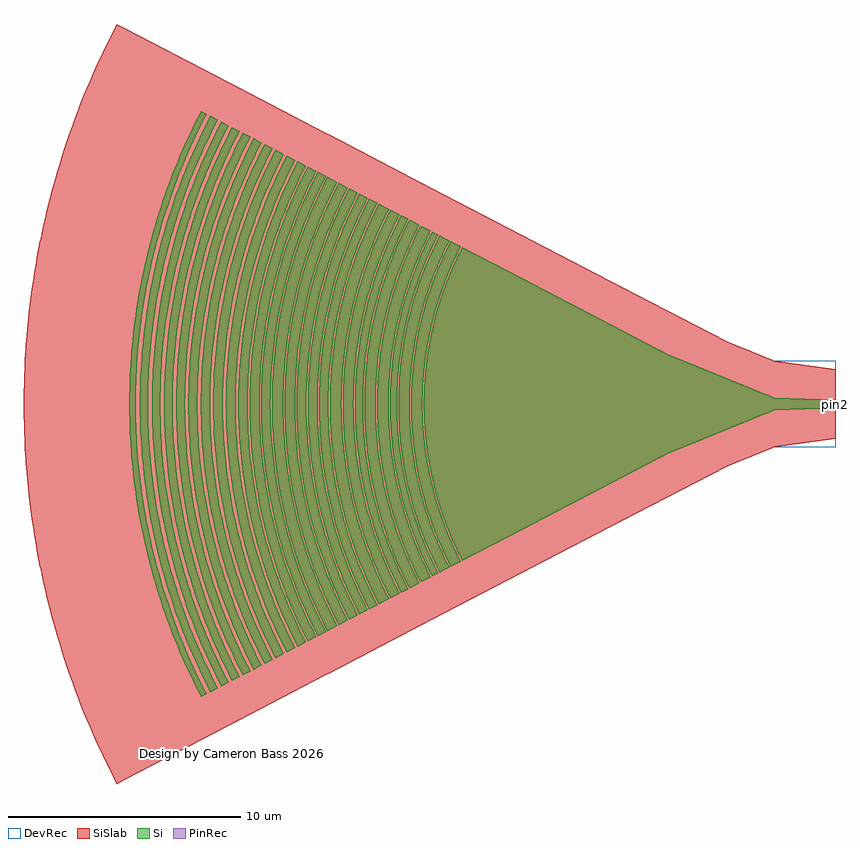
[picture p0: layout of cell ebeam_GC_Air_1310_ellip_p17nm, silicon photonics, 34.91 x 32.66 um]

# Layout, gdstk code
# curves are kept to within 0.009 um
import gdstk
lib = gdstk.Library(unit=1e-6, precision=1e-09)
def P(c, l, *ps):  # polygons
    for p in ps: c.add(gdstk.Polygon(p, *l))
Si = (1, 0)
PinRec = (1, 10)
SiSlab = (2, 0)
DevRec = (68, 0)

ebeam_gc_air_1310_ellip_ = lib.new_cell('ebeam_GC_Air_1310_ellip_p17nm')
P(ebeam_gc_air_1310_ellip_, Si, [(-16.055,-6.739),(-16.483,-5.847),(-16.8,-5.059),(-17.029,-4.389),(-17.294,-3.435),(-17.471,-2.604),(-17.598,-1.765),(-17.676,-0.919),(-17.704,-0.071),(-17.676,0.919),(-17.598,1.765),(-17.471,2.605),(-17.295,3.435),(-17.029,4.389),(-16.8,5.059),(-16.426,5.976),(-16.055,6.739),(-7.071,2.067),(-3.179,0.48),(-2.87,0.366),(-2.673,0.273),(0,0.175),(0,-0.175),(-2.672,-0.273),(-2.839,-0.353),(-3.194,-0.486),(-7.131,-2.092)],
  [(-16.547,-6.994),(-16.929,-6.206),(-17.266,-5.391),(-17.555,-4.558),(-17.831,-3.567),(-18.014,-2.704),(-18.145,-1.833),(-18.226,-0.955),(-18.256,-0.073),(-18.235,0.808),(-18.145,1.833),(-18.014,2.705),(-17.831,3.567),(-17.555,4.558),(-17.266,5.391),(-16.929,6.206),(-16.548,6.995),(-16.114,6.769),(-16.486,6.003),(-16.812,5.215),(-17.092,4.41),(-17.325,3.589),(-17.535,2.617),(-17.663,1.773),(-17.75,0.782),(-17.77,-0.071),(-17.732,-1.066),(-17.645,-1.914),(-17.482,-2.896),(-17.29,-3.727),(-17.049,-4.545),(-16.812,-5.215),(-16.486,-6.003),(-16.114,-6.769)],
  [(-17.028,-7.245),(-17.423,-6.43),(-17.772,-5.586),(-18.071,-4.723),(-18.357,-3.696),(-18.546,-2.802),(-18.682,-1.899),(-18.766,-0.989),(-18.797,-0.076),(-18.775,0.837),(-18.7,1.748),(-18.621,2.352),(-18.546,2.802),(-18.357,3.696),(-18.071,4.723),(-17.772,5.586),(-17.423,6.43),(-17.028,7.245),(-16.605,7.025),(-16.989,6.233),(-17.379,5.277),(-17.662,4.437),(-17.896,3.583),(-18.078,2.717),(-18.211,1.841),(-18.292,0.959),(-18.322,0.074),(-18.301,-0.811),(-18.211,-1.841),(-18.078,-2.717),(-17.896,-3.583),(-17.662,-4.437),(-17.379,-5.277),(-17.048,-6.098),(-16.866,-6.502),(-16.605,-7.025)],
  [(-17.348,-7.412),(-17.815,-6.436),(-18.164,-5.569),(-18.461,-4.683),(-18.708,-3.781),(-18.901,-2.867),(-19.041,-1.943),(-19.127,-1.012),(-19.158,-0.078),(-19.136,0.857),(-19.041,1.943),(-18.901,2.867),(-18.708,3.782),(-18.461,4.683),(-18.164,5.569),(-17.996,6.005),(-17.752,6.579),(-17.348,7.412),(-17.087,7.275),(-17.483,6.457),(-17.778,5.753),(-17.939,5.323),(-18.088,4.889),(-18.307,4.156),(-18.553,3.115),(-18.686,2.361),(-18.782,1.603),(-18.841,0.841),(-18.863,0.077),(-18.848,-0.688),(-18.797,-1.45),(-18.708,-2.211),(-18.553,-3.115),(-18.307,-4.156),(-18.18,-4.597),(-17.99,-5.178),(-17.778,-5.752),(-17.544,-6.317),(-17.355,-6.735),(-17.087,-7.275)],
  [(-17.844,-7.67),(-18.261,-6.808),(-18.452,-6.365),(-18.687,-5.764),(-18.995,-4.847),(-19.25,-3.914),(-19.45,-2.967),(-19.594,-2.011),(-19.683,-1.047),(-19.716,-0.08),(-19.692,0.887),(-19.613,1.851),(-19.478,2.809),(-19.357,3.442),(-19.25,3.914),(-18.995,4.847),(-18.687,5.764),(-18.513,6.215),(-18.261,6.809),(-17.844,7.67),(-17.407,7.442),(-17.812,6.606),(-18.17,5.739),(-18.479,4.852),(-18.735,3.95),(-18.966,2.879),(-19.106,1.951),(-19.17,1.328),(-19.202,0.86),(-19.224,0.078),(-19.202,-0.86),(-19.17,-1.328),(-19.106,-1.951),(-18.966,-2.879),(-18.735,-3.949),(-18.479,-4.852),(-18.17,-5.739),(-17.811,-6.606),(-17.407,-7.442)],
  [(-18.324,-7.92),(-18.755,-7.03),(-19.136,-6.107),(-19.307,-5.639),(-19.513,-5.005),(-19.776,-4.041),(-19.982,-3.064),(-20.132,-2.076),(-20.223,-1.082),(-20.257,-0.083),(-20.233,0.916),(-20.151,1.911),(-20.039,2.736),(-19.952,3.228),(-19.815,3.88),(-19.513,5.005),(-19.194,5.952),(-19.015,6.417),(-18.755,7.031),(-18.324,7.92),(-17.904,7.701),(-18.323,6.836),(-18.575,6.241),(-18.75,5.787),(-19.06,4.867),(-19.316,3.93),(-19.516,2.979),(-19.661,2.019),(-19.751,1.052),(-19.784,0.081),(-19.76,-0.89),(-19.68,-1.858),(-19.596,-2.5),(-19.516,-2.979),(-19.315,-3.929),(-19.06,-4.866),(-18.75,-5.787),(-18.323,-6.836),(-17.904,-7.701)],
  [(-18.686,-8.108),(-18.984,-7.506),(-19.196,-7.041),(-19.518,-6.252),(-19.853,-5.286),(-20.045,-4.632),(-20.173,-4.137),(-20.384,-3.137),(-20.537,-2.125),(-20.631,-1.107),(-20.665,-0.085),(-20.641,0.937),(-20.557,1.957),(-20.414,2.969),(-20.286,3.638),(-20.173,4.137),(-20.045,4.632),(-19.853,5.286),(-19.518,6.252),(-19.127,7.197),(-18.686,8.108),(-18.383,7.951),(-18.676,7.362),(-18.949,6.751),(-19.138,6.288),(-19.37,5.66),(-19.528,5.184),(-19.716,4.542),(-19.879,3.894),(-19.985,3.405),(-20.13,2.581),(-20.235,1.752),(-20.3,0.919),(-20.324,0.084),(-20.3,-0.919),(-20.235,-1.752),(-20.13,-2.581),(-19.985,-3.405),(-19.879,-3.894),(-19.716,-4.542),(-19.528,-5.184),(-19.37,-5.66),(-19.138,-6.287),(-18.949,-6.751),(-18.676,-7.362),(-18.383,-7.95)],
  [(-19.144,-8.347),(-19.451,-7.728),(-19.669,-7.249),(-20.062,-6.273),(-20.397,-5.275),(-20.675,-4.259),(-20.892,-3.229),(-21.05,-2.188),(-21.146,-1.14),(-21.182,-0.088),(-21.172,0.615),(-21.146,1.14),(-21.05,2.188),(-20.892,3.229),(-20.675,4.259),(-20.397,5.275),(-20.062,6.273),(-19.669,7.25),(-19.375,7.887),(-19.144,8.347),(-18.746,8.139),(-19.189,7.225),(-19.456,6.595),(-19.64,6.116),(-19.968,5.143),(-20.239,4.153),(-20.45,3.149),(-20.604,2.134),(-20.698,1.112),(-20.733,0.086),(-20.708,-0.941),(-20.624,-1.964),(-20.48,-2.98),(-20.386,-3.485),(-20.239,-4.153),(-19.968,-5.143),(-19.64,-6.116),(-19.456,-6.595),(-19.189,-7.224),(-18.746,-8.139)],
  [(-19.643,-8.607),(-20.109,-7.643),(-20.524,-6.64),(-20.709,-6.13),(-20.933,-5.441),(-21.219,-4.393),(-21.443,-3.331),(-21.605,-2.257),(-21.705,-1.176),(-21.742,-0.09),(-21.716,0.995),(-21.626,2.078),(-21.475,3.153),(-21.339,3.863),(-21.219,4.394),(-20.933,5.441),(-20.709,6.13),(-20.524,6.64),(-20.109,7.643),(-19.643,8.607),(-19.204,8.378),(-19.659,7.437),(-20.063,6.461),(-20.3,5.798),(-20.462,5.295),(-20.698,4.446),(-20.925,3.415),(-21.094,2.372),(-21.172,1.671),(-21.213,1.144),(-21.249,0.088),(-21.244,-0.44),(-21.213,-1.144),(-21.116,-2.196),(-20.958,-3.241),(-20.856,-3.759),(-20.698,-4.446),(-20.409,-5.463),(-20.063,-6.461),(-19.867,-6.952),(-19.586,-7.598),(-19.204,-8.378)],
  [(-20.058,-8.823),(-20.537,-7.833),(-20.962,-6.805),(-21.327,-5.753),(-21.486,-5.221),(-21.675,-4.503),(-21.905,-3.414),(-22.071,-2.313),(-22.173,-1.205),(-22.211,-0.093),(-22.184,1.02),(-22.093,2.129),(-22.023,2.681),(-21.905,3.414),(-21.675,4.503),(-21.486,5.221),(-21.327,5.753),(-20.962,6.805),(-20.537,7.833),(-20.058,8.823),(-19.706,8.639),(-20.174,7.671),(-20.59,6.664),(-20.948,5.635),(-21.245,4.586),(-21.48,3.522),(-21.574,2.985),(-21.676,2.266),(-21.776,1.18),(-21.813,0.091),(-21.787,-0.999),(-21.75,-1.543),(-21.676,-2.265),(-21.574,-2.985),(-21.48,-3.522),(-21.245,-4.586),(-20.948,-5.634),(-20.59,-6.664),(-20.173,-7.671),(-19.706,-8.639)],
  [(-20.478,-9.042),(-20.969,-8.026),(-21.196,-7.502),(-21.406,-6.972),(-21.779,-5.895),(-21.943,-5.349),(-22.136,-4.613),(-22.372,-3.498),(-22.542,-2.37),(-22.647,-1.235),(-22.686,-0.095),(-22.658,1.045),(-22.564,2.182),(-22.405,3.311),(-22.301,3.871),(-22.136,4.614),(-21.943,5.349),(-21.779,5.895),(-21.406,6.972),(-20.97,8.026),(-20.478,9.042),(-20.118,8.854),(-20.599,7.86),(-21.025,6.829),(-21.391,5.774),(-21.601,5.059),(-21.741,4.518),(-21.971,3.426),(-22.138,2.322),(-22.24,1.209),(-22.278,0.093),(-22.251,-1.023),(-22.197,-1.766),(-22.138,-2.321),(-21.971,-3.426),(-21.741,-4.518),(-21.601,-5.06),(-21.391,-5.774),(-21.025,-6.828),(-20.819,-7.347),(-20.522,-8.03),(-20.118,-8.854)],
  [(-20.913,-9.268),(-21.17,-8.754),(-21.497,-8.046),(-21.933,-6.962),(-22.305,-5.855),(-22.613,-4.728),(-22.855,-3.584),(-23.03,-2.429),(-23.137,-1.265),(-23.176,-0.097),(-23.171,0.487),(-23.137,1.265),(-23.03,2.429),(-22.855,3.585),(-22.613,4.728),(-22.305,5.855),(-21.933,6.963),(-21.497,8.047),(-21.17,8.754),(-20.913,9.268),(-20.542,9.074),(-21.036,8.053),(-21.473,6.996),(-21.849,5.915),(-22.161,4.815),(-22.292,4.257),(-22.443,3.51),(-22.614,2.379),(-22.719,1.239),(-22.758,0.096),(-22.747,-0.667),(-22.719,-1.239),(-22.614,-2.378),(-22.443,-3.51),(-22.207,-4.629),(-22.013,-5.367),(-21.849,-5.915),(-21.473,-6.996),(-21.036,-8.053),(-20.542,-9.074)],
  [(-21.364,-9.503),(-21.714,-8.797),(-21.962,-8.251),(-22.339,-7.327),(-22.544,-6.764),(-22.732,-6.195),(-22.957,-5.428),(-23.107,-4.848),(-23.355,-3.676),(-23.534,-2.491),(-23.644,-1.297),(-23.673,-0.699),(-23.684,-0.1),(-23.679,0.499),(-23.644,1.298),(-23.534,2.491),(-23.355,3.676),(-23.107,4.848),(-22.957,5.428),(-22.732,6.195),(-22.544,6.764),(-22.339,7.327),(-21.881,8.434),(-21.364,9.503),(-20.972,9.298),(-21.479,8.252),(-21.927,7.169),(-22.312,6.061),(-22.631,4.933),(-22.766,4.362),(-22.92,3.596),(-23.096,2.437),(-23.203,1.27),(-23.243,0.098),(-23.215,-1.074),(-23.175,-1.66),(-23.096,-2.437),(-22.92,-3.596),(-22.677,-4.743),(-22.532,-5.312),(-22.312,-6.061),(-21.927,-7.168),(-21.479,-8.252),(-20.972,-9.298)],
  [(-21.852,-9.756),(-22.121,-9.219),(-22.464,-8.474),(-22.702,-7.906),(-22.923,-7.332),(-23.128,-6.752),(-23.315,-6.166),(-23.64,-4.979),(-23.776,-4.379),(-23.894,-3.775),(-23.995,-3.168),(-24.078,-2.558),(-24.191,-1.332),(-24.221,-0.718),(-24.232,-0.102),(-24.203,1.128),(-24.102,2.355),(-23.995,3.168),(-23.894,3.775),(-23.776,4.379),(-23.64,4.979),(-23.315,6.166),(-23.128,6.752),(-22.923,7.333),(-22.625,8.097),(-22.381,8.662),(-21.852,9.757),(-21.423,9.533),(-21.688,9.007),(-21.942,8.461),(-22.401,7.351),(-22.796,6.215),(-23.124,5.059),(-23.383,3.885),(-23.575,2.698),(-23.697,1.502),(-23.732,0.901),(-23.751,0.1),(-23.722,-1.102),(-23.664,-1.901),(-23.6,-2.499),(-23.42,-3.688),(-23.262,-4.473),(-23.124,-5.059),(-22.796,-6.215),(-22.401,-7.351),(-22.102,-8.094),(-21.859,-8.644),(-21.423,-9.533)],
  [(-22.266,-9.972),(-22.807,-8.852),(-23.056,-8.274),(-23.288,-7.69),(-23.502,-7.1),(-23.762,-6.302),(-24.094,-5.089),(-24.353,-3.858),(-24.456,-3.238),(-24.541,-2.614),(-24.608,-1.989),(-24.657,-1.362),(-24.687,-0.734),(-24.699,-0.105),(-24.669,1.153),(-24.566,2.406),(-24.487,3.03),(-24.39,3.652),(-24.275,4.27),(-24.094,5.089),(-23.762,6.302),(-23.57,6.901),(-23.288,7.69),(-23.056,8.275),(-22.807,8.853),(-22.266,9.972),(-21.911,9.787),(-22.442,8.689),(-22.763,7.932),(-23.056,7.162),(-23.256,6.579),(-23.495,5.791),(-23.655,5.195),(-23.84,4.392),(-23.959,3.787),(-24.06,3.177),(-24.189,2.157),(-24.269,1.131),(-24.299,0.103),(-24.279,-0.925),(-24.209,-1.953),(-24.09,-2.975),(-23.881,-4.191),(-23.751,-4.794),(-23.55,-5.593),(-23.318,-6.382),(-23.056,-7.162),(-22.763,-7.932),(-22.442,-8.689),(-21.911,-9.787)],
  [(-22.7,-10.198),(-22.983,-9.634),(-23.342,-8.855),(-23.747,-7.863),(-23.966,-7.259),(-24.168,-6.648),(-24.352,-6.033),(-24.571,-5.203),(-24.713,-4.576),(-24.836,-3.945),(-24.942,-3.311),(-25.029,-2.673),(-25.097,-2.034),(-25.147,-1.392),(-25.178,-0.751),(-25.19,-0.107),(-25.184,0.536),(-25.159,1.179),(-25.116,1.82),(-25.054,2.46),(-24.973,3.098),(-24.874,3.734),(-24.713,4.576),(-24.571,5.203),(-24.41,5.825),(-24.231,6.444),(-23.822,7.663),(-23.591,8.262),(-23.342,8.856),(-22.983,9.634),(-22.7,10.198),(-22.328,10.004),(-22.605,9.453),(-22.872,8.881),(-23.2,8.107),(-23.499,7.32),(-23.768,6.523),(-23.948,5.918),(-24.112,5.309),(-24.301,4.489),(-24.493,3.456),(-24.636,2.414),(-24.727,1.366),(-24.758,0.736),(-24.77,0.105),(-24.75,-0.946),(-24.713,-1.576),(-24.658,-2.204),(-24.526,-3.247),(-24.343,-4.284),(-24.21,-4.9),(-24.005,-5.715),(-23.768,-6.523),(-23.569,-7.122),(-23.278,-7.911),(-22.956,-8.688),(-22.696,-9.263),(-22.328,-10.004)],
  [(-23.132,-10.423),(-23.519,-9.644),(-23.791,-9.046),(-24.045,-8.44),(-24.282,-7.827),(-24.5,-7.208),(-24.7,-6.582),(-24.882,-5.952),(-25.047,-5.315),(-25.192,-4.675),(-25.319,-4.03),(-25.426,-3.382),(-25.515,-2.731),(-25.585,-2.078),(-25.636,-1.422),(-25.668,-0.767),(-25.68,-0.109),(-25.674,0.547),(-25.649,1.204),(-25.604,1.859),(-25.541,2.513),(-25.458,3.165),(-25.319,4.03),(-25.192,4.674),(-25.047,5.315),(-24.7,6.582),(-24.5,7.208),(-24.282,7.828),(-24.045,8.44),(-23.791,9.046),(-23.519,9.644),(-23.132,10.423),(-22.776,10.238),(-23.154,9.475),(-23.506,8.69),(-23.75,8.093),(-23.976,7.488),(-24.251,6.673),(-24.436,6.054),(-24.655,5.222),(-24.797,4.592),(-24.994,3.535),(-25.087,2.897),(-25.162,2.255),(-25.245,1.183),(-25.277,0.108),(-25.256,-0.968),(-25.183,-2.042),(-25.027,-3.323),(-24.84,-4.382),(-24.655,-5.222),(-24.494,-5.846),(-24.315,-6.467),(-24.048,-7.285),(-23.75,-8.093),(-23.506,-8.689),(-23.154,-9.475),(-22.776,-10.237)],
  [(-23.601,-10.668),(-24,-9.864),(-24.279,-9.253),(-24.539,-8.633),(-24.781,-8.007),(-25.004,-7.372),(-25.209,-6.733),(-25.396,-6.088),(-25.564,-5.437),(-25.713,-4.782),(-25.842,-4.122),(-25.953,-3.459),(-26.044,-2.793),(-26.115,-2.125),(-26.167,-1.455),(-26.2,-0.784),(-26.213,-0.112),(-26.206,0.56),(-26.18,1.232),(-26.135,1.902),(-26.07,2.571),(-25.985,3.237),(-25.881,3.902),(-25.713,4.781),(-25.564,5.437),(-25.396,6.087),(-25.209,6.733),(-25.004,7.373),(-24.781,8.007),(-24.539,8.633),(-24.279,9.253),(-24,9.865),(-23.601,10.668),(-23.234,10.476),(-23.529,9.89),(-23.896,9.09),(-24.152,8.482),(-24.465,7.659),(-24.679,7.035),(-24.936,6.192),(-25.107,5.555),(-25.305,4.697),(-25.507,3.615),(-25.656,2.525),(-25.719,1.869),(-25.764,1.21),(-25.796,0.11),(-25.775,-0.99),(-25.737,-1.649),(-25.679,-2.306),(-25.541,-3.398),(-25.349,-4.482),(-25.21,-5.127),(-24.995,-5.981),(-24.812,-6.614),(-24.539,-7.451),(-24.313,-8.072),(-23.984,-8.888),(-23.624,-9.691),(-23.234,-10.476)],
  [(-24.084,-10.919),(-24.396,-10.298),(-24.687,-9.675),(-24.96,-9.043),(-25.214,-8.405),(-25.449,-7.76),(-25.733,-6.888),(-25.924,-6.227),(-26.096,-5.562),(-26.248,-4.892),(-26.381,-4.217),(-26.494,-3.539),(-26.587,-2.857),(-26.66,-2.174),(-26.713,-1.488),(-26.747,-0.802),(-26.76,-0.114),(-26.753,0.573),(-26.727,1.26),(-26.68,1.945),(-26.587,2.858),(-26.494,3.539),(-26.381,4.217),(-26.248,4.891),(-26.096,5.562),(-25.924,6.227),(-25.733,6.888),(-25.449,7.759),(-25.214,8.405),(-24.96,9.044),(-24.687,9.675),(-24.396,10.298),(-24.084,10.919),(-23.722,10.73),(-24.027,10.124),(-24.313,9.511),(-24.665,8.683),(-24.986,7.84),(-25.274,6.986),(-25.468,6.338),(-25.698,5.467),(-25.846,4.808),(-26.053,3.701),(-26.206,2.585),(-26.304,1.463),(-26.337,0.788),(-26.35,0.113),(-26.328,-1.013),(-26.288,-1.688),(-26.23,-2.361),(-26.088,-3.478),(-25.892,-4.588),(-25.698,-5.467),(-25.529,-6.121),(-25.274,-6.986),(-24.986,-7.84),(-24.749,-8.473),(-24.403,-9.305),(-24.027,-10.124),(-23.722,-10.73)],
  [(-24.554,-11.164),(-24.875,-10.526),(-25.172,-9.889),(-25.452,-9.244),(-25.711,-8.591),(-25.952,-7.931),(-26.173,-7.264),(-26.374,-6.591),(-26.614,-5.685),(-26.769,-5),(-26.905,-4.31),(-27.02,-3.617),(-27.115,-2.921),(-27.19,-2.222),(-27.245,-1.521),(-27.279,-0.82),(-27.292,-0.117),(-27.279,0.82),(-27.245,1.522),(-27.19,2.223),(-27.115,2.921),(-27.02,3.616),(-26.905,4.31),(-26.769,4.999),(-26.614,5.685),(-26.374,6.591),(-26.173,7.264),(-25.952,7.931),(-25.711,8.591),(-25.452,9.245),(-25.173,9.889),(-24.875,10.526),(-24.554,11.164),(-24.203,10.981),(-24.618,10.148),(-24.904,9.518),(-25.172,8.881),(-25.5,8.019),(-25.795,7.146),(-25.993,6.484),(-26.173,5.816),(-26.38,4.918),(-26.592,3.786),(-26.748,2.644),(-26.849,1.497),(-26.882,0.806),(-26.895,0.115),(-26.873,-1.036),(-26.795,-2.185),(-26.661,-3.33),(-26.554,-4.013),(-26.427,-4.693),(-26.227,-5.592),(-26.055,-6.262),(-25.795,-7.146),(-25.577,-7.802),(-25.257,-8.667),(-24.904,-9.518),(-24.618,-10.148),(-24.203,-10.981)],
  [(-25.027,-11.41),(-25.356,-10.756),(-25.66,-10.106),(-25.945,-9.447),(-26.211,-8.779),(-26.456,-8.105),(-26.682,-7.423),(-26.889,-6.735),(-27.133,-5.809),(-27.292,-5.109),(-27.431,-4.404),(-27.548,-3.696),(-27.646,-2.985),(-27.722,-2.271),(-27.778,-1.555),(-27.813,-0.838),(-27.827,-0.12),(-27.82,0.598),(-27.792,1.316),(-27.743,2.032),(-27.674,2.747),(-27.583,3.459),(-27.431,4.404),(-27.292,5.11),(-27.133,5.809),(-26.953,6.504),(-26.753,7.195),(-26.534,7.878),(-26.211,8.779),(-25.945,9.446),(-25.66,10.106),(-25.356,10.756),(-25.027,11.41),(-24.683,11.231),(-25.007,10.589),(-25.401,9.732),(-25.675,9.081),(-26.011,8.2),(-26.24,7.532),(-26.515,6.63),(-26.699,5.947),(-26.911,5.029),(-27.127,3.871),(-27.287,2.704),(-27.356,2),(-27.404,1.295),(-27.438,0.118),(-27.431,-0.589),(-27.404,-1.295),(-27.312,-2.469),(-27.164,-3.638),(-27.048,-4.336),(-26.911,-5.03),(-26.699,-5.947),(-26.515,-6.629),(-26.24,-7.532),(-26.011,-8.2),(-25.675,-9.081),(-25.401,-9.732),(-25.007,-10.589),(-24.683,-11.23)],
  [(-25.489,-11.65),(-25.825,-10.982),(-26.235,-10.095),(-26.519,-9.418),(-26.783,-8.735),(-27.028,-8.043),(-27.252,-7.345),(-27.455,-6.641),(-27.639,-5.931),(-27.802,-5.217),(-27.943,-4.497),(-28.064,-3.774),(-28.163,-3.047),(-28.241,-2.319),(-28.298,-1.587),(-28.333,-0.856),(-28.348,-0.122),(-28.333,0.855),(-28.298,1.587),(-28.241,2.319),(-28.163,3.047),(-28.064,3.774),(-27.943,4.497),(-27.802,5.217),(-27.639,5.931),(-27.455,6.641),(-27.252,7.345),(-27.028,8.043),(-26.697,8.964),(-26.332,9.871),(-26.136,10.318),(-25.825,10.982),(-25.489,11.65),(-25.157,11.477),(-25.593,10.603),(-25.891,9.945),(-26.261,9.056),(-26.515,8.379),(-26.823,7.467),(-27.03,6.775),(-27.276,5.844),(-27.435,5.139),(-27.656,3.956),(-27.761,3.241),(-27.845,2.524),(-27.938,1.324),(-27.973,0.121),(-27.95,-1.083),(-27.908,-1.804),(-27.845,-2.523),(-27.761,-3.241),(-27.656,-3.955),(-27.435,-5.139),(-27.275,-5.843),(-27.03,-6.774),(-26.823,-7.467),(-26.515,-8.379),(-26.261,-9.056),(-25.891,-9.945),(-25.593,-10.603),(-25.157,-11.477)],
  [(-25.954,-11.892),(-26.297,-11.21),(-26.614,-10.532),(-26.911,-9.846),(-27.188,-9.15),(-27.444,-8.447),(-27.68,-7.736),(-27.895,-7.02),(-28.089,-6.296),(-28.262,-5.569),(-28.46,-4.59),(-28.582,-3.852),(-28.684,-3.11),(-28.764,-2.367),(-28.822,-1.62),(-28.858,-0.873),(-28.872,-0.125),(-28.858,0.873),(-28.822,1.62),(-28.764,2.367),(-28.684,3.111),(-28.582,3.853),(-28.46,4.59),(-28.315,5.324),(-28.149,6.054),(-27.962,6.779),(-27.754,7.498),(-27.525,8.21),(-27.276,8.916),(-27.006,9.614),(-26.716,10.304),(-26.405,10.985),(-25.954,11.893),(-25.627,11.722),(-26.072,10.829),(-26.377,10.157),(-26.663,9.477),(-27.014,8.557),(-27.253,7.86),(-27.541,6.919),(-27.732,6.207),(-27.954,5.248),(-28.179,4.04),(-28.346,2.822),(-28.418,2.087),(-28.468,1.352),(-28.504,0.123),(-28.496,-0.615),(-28.468,-1.352),(-28.372,-2.577),(-28.217,-3.797),(-28.096,-4.524),(-27.954,-5.248),(-27.732,-6.206),(-27.541,-6.918),(-27.253,-7.86),(-27.014,-8.557),(-26.663,-9.477),(-26.377,-10.156),(-26.072,-10.828),(-25.627,-11.722)],
  [(-26.413,-12.131),(-26.763,-11.435),(-27.087,-10.744),(-27.486,-9.807),(-27.761,-9.095),(-28.015,-8.375),(-28.249,-7.648),(-28.461,-6.916),(-28.652,-6.176),(-28.821,-5.432),(-28.969,-4.682),(-29.094,-3.93),(-29.197,-3.173),(-29.279,-2.414),(-29.338,-1.653),(-29.375,-0.891),(-29.39,-0.127),(-29.382,0.636),(-29.353,1.399),(-29.301,2.16),(-29.227,2.921),(-29.131,3.677),(-28.969,4.682),(-28.821,5.431),(-28.652,6.176),(-28.461,6.916),(-28.249,7.649),(-28.015,8.375),(-27.761,9.095),(-27.486,9.807),(-27.087,10.744),(-26.763,11.435),(-26.413,12.131),(-26.096,11.966),(-26.442,11.28),(-26.761,10.598),(-27.154,9.674),(-27.426,8.972),(-27.677,8.262),(-27.98,7.304),(-28.245,6.336),(-28.418,5.603),(-28.571,4.866),(-28.702,4.124),(-28.872,2.881),(-28.982,1.631),(-29.018,0.878),(-29.033,0.126),(-29.025,-0.628),(-28.996,-1.38),(-28.899,-2.631),(-28.811,-3.379),(-28.702,-4.124),(-28.471,-5.358),(-28.245,-6.336),(-28.05,-7.062),(-27.833,-7.784),(-27.512,-8.735),(-27.247,-9.441),(-26.862,-10.368),(-26.551,-11.054),(-26.096,-11.966)],
  [(-26.883,-12.376),(-27.232,-11.68),(-27.563,-10.974),(-27.872,-10.259),(-28.251,-9.29),(-28.51,-8.556),(-28.748,-7.813),(-28.964,-7.064),(-29.16,-6.308),(-29.332,-5.548),(-29.482,-4.783),(-29.61,-4.014),(-29.716,-3.241),(-29.798,-2.466),(-29.859,-1.688),(-29.897,-0.91),(-29.912,-0.13),(-29.897,0.91),(-29.859,1.688),(-29.798,2.466),(-29.716,3.241),(-29.61,4.013),(-29.482,4.783),(-29.332,5.549),(-29.16,6.308),(-28.964,7.063),(-28.748,7.813),(-28.51,8.555),(-28.251,9.291),(-27.872,10.259),(-27.563,10.974),(-27.232,11.681),(-26.883,12.377),(-26.563,12.21),(-27.027,11.279),(-27.345,10.579),(-27.738,9.633),(-28.008,8.913),(-28.336,7.943),(-28.556,7.206),(-28.756,6.465),(-28.987,5.466),(-29.222,4.208),(-29.396,2.939),(-29.47,2.175),(-29.522,1.408),(-29.56,0.128),(-29.535,-1.152),(-29.49,-1.919),(-29.423,-2.684),(-29.262,-3.954),(-29.135,-4.713),(-28.987,-5.466),(-28.756,-6.464),(-28.556,-7.206),(-28.336,-7.943),(-28.008,-8.913),(-27.738,-9.633),(-27.345,-10.579),(-27.027,-11.279),(-26.563,-12.209)],
  [(-27.281,-12.584),(-27.758,-11.623),(-28.087,-10.902),(-28.393,-10.172),(-28.678,-9.434),(-28.942,-8.686),(-29.183,-7.933),(-29.403,-7.172),(-29.601,-6.406),(-29.776,-5.634),(-29.929,-4.856),(-30.059,-4.076),(-30.166,-3.291),(-30.25,-2.504),(-30.306,-1.795),(-30.35,-0.924),(-30.365,-0.132),(-30.357,0.659),(-30.327,1.451),(-30.25,2.504),(-30.166,3.291),(-30.059,4.076),(-29.929,4.857),(-29.776,5.634),(-29.601,6.406),(-29.403,7.172),(-29.183,7.933),(-28.942,8.687),(-28.678,9.434),(-28.393,10.172),(-27.98,11.144),(-27.644,11.861),(-27.281,12.584),(-27.042,12.459),(-27.507,11.523),(-27.831,10.808),(-28.232,9.842),(-28.508,9.106),(-28.842,8.115),(-29.068,7.362),(-29.271,6.605),(-29.451,5.841),(-29.61,5.072),(-29.746,4.299),(-29.923,3.003),(-30.038,1.7),(-30.076,0.915),(-30.091,0.131),(-30.066,-1.177),(-30.02,-1.961),(-29.951,-2.742),(-29.86,-3.522),(-29.746,-4.299),(-29.61,-5.072),(-29.451,-5.84),(-29.27,-6.605),(-29.068,-7.362),(-28.842,-8.115),(-28.508,-9.106),(-28.232,-9.842),(-27.831,-10.808),(-27.507,-11.523),(-27.042,-12.459)])
P(ebeam_gc_air_1310_ellip_, SiSlab, [(-30.904,-16.329),(-31.366,-15.41),(-31.801,-14.477),(-32.208,-13.533),(-32.588,-12.577),(-32.94,-11.61),(-33.264,-10.634),(-33.559,-9.648),(-33.825,-8.655),(-34.062,-7.654),(-34.27,-6.647),(-34.449,-5.634),(-34.598,-4.616),(-34.717,-3.594),(-34.807,-2.569),(-34.867,-1.543),(-34.9,-0.171),(-34.89,0.857),(-34.85,1.885),(-34.781,2.912),(-34.681,3.935),(-34.552,4.956),(-34.393,5.972),(-34.135,7.319),(-33.907,8.322),(-33.651,9.318),(-33.365,10.307),(-33.051,11.286),(-32.709,12.256),(-32.338,13.216),(-31.94,14.164),(-31.366,15.41),(-30.904,16.329),(-4.744,2.708),(-2.65,1.855),(0,1.5),(0,-1.5),(-2.65,-1.855),(-4.728,-2.7)])
P(ebeam_gc_air_1310_ellip_, DevRec, [(-30.904,-16.329),(-31.366,-15.41),(-31.801,-14.477),(-32.208,-13.533),(-32.588,-12.577),(-32.94,-11.61),(-33.264,-10.634),(-33.559,-9.648),(-33.825,-8.655),(-34.062,-7.654),(-34.27,-6.647),(-34.449,-5.634),(-34.598,-4.616),(-34.717,-3.594),(-34.807,-2.569),(-34.867,-1.543),(-34.9,-0.171),(-34.89,0.857),(-34.85,1.885),(-34.781,2.912),(-34.681,3.935),(-34.552,4.956),(-34.393,5.972),(-34.135,7.319),(-33.907,8.322),(-33.651,9.318),(-33.365,10.307),(-33.051,11.286),(-32.709,12.256),(-32.338,13.216),(-31.94,14.164),(-31.366,15.41),(-30.904,16.329),(-4.744,2.708),(-2.65,1.855),(0,1.855),(0,-1.855),(-2.65,-1.855),(-4.728,-2.7)])
ebeam_gc_air_1310_ellip_.add(gdstk.FlexPath([(-0.01,0),(0.01,0)], 0.35, ends="flush", simple_path=True, layer=1, datatype=10))  # PinRec
ebeam_gc_air_1310_ellip_.add(gdstk.Label('pin2', (0,0), layer=1, texttype=10))
ebeam_gc_air_1310_ellip_.add(gdstk.Label('Design by Cameron Bass 2026', (-25.94,-15.02), layer=10, texttype=0))

lib.write_gds('ebeam_GC_Air_1310_ellip_p17nm.gds')
